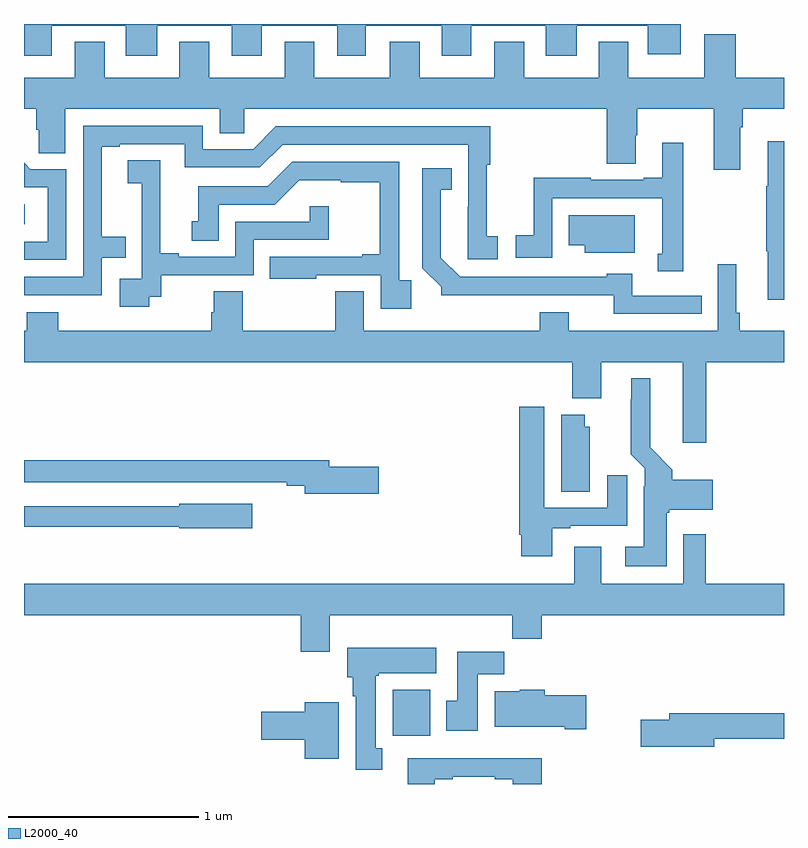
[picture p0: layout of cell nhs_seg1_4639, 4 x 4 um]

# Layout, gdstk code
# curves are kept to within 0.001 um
import gdstk
lib = gdstk.Library(unit=1e-6, precision=1e-09)
def R(c, l, rs):  # rectangles x0, y0, x1, y1
    for r in rs: c.add(gdstk.rectangle(r[:2], r[2:], *l))
def P(c, l, *ps):  # polygons
    for p in ps: c.add(gdstk.Polygon(p, *l))
L2000_40 = (2000, 40)

nhs_seg1_4639 = lib.new_cell('nhs_seg1_4639')
R(nhs_seg1_4639, L2000_40, [(364.94,528.452,365.137,528.694), (363,531.146,363.004,531.25)])
P(nhs_seg1_4639, L2000_40, [(363.145,532.19),(363.536,532.19),(363.536,532.032),(363.7,532.032),(363.7,532.19),(364.094,532.19),(364.094,532.032),(364.252,532.032),(364.252,532.19),(364.649,532.19),(364.649,532.032),(364.798,532.032),(364.798,532.19),(365.198,532.19),(365.198,532.032),(365.353,532.032),(365.353,532.19),(365.747,532.19),(365.747,532.032),(365.908,532.032),(365.908,532.19),(366.284,532.19),(366.284,532.04),(366.457,532.04),(366.457,532.199),(363,532.199),(363,532.032),(363.145,532.032)],
  [(366.769,531.656),(366.782,531.656),(366.782,531.752),(367,531.752),(367,531.916),(366.746,531.916),(366.746,532.144),(366.581,532.144),(366.581,531.916),(366.181,531.916),(366.181,532.105),(366.026,532.105),(366.026,531.916),(365.632,531.916),(365.632,532.105),(365.474,532.105),(365.474,531.916),(365.083,531.916),(365.083,532.105),(364.925,532.105),(364.925,531.916),(364.528,531.916),(364.528,532.105),(364.373,532.105),(364.373,531.916),(363.976,531.916),(363.976,532.105),(363.818,532.105),(363.818,531.916),(363.424,531.916),(363.424,532.105),(363.266,532.105),(363.266,531.916),(363,531.916),(363,531.752),(363.065,531.752),(363.065,531.643),(363.078,531.643),(363.078,531.52),(363.217,531.52),(363.217,531.752),(364.031,531.752),(364.031,531.625),(364.158,531.625),(364.158,531.752),(366.068,531.752),(366.068,531.463),(366.22,531.463),(366.22,531.614),(366.228,531.614),(366.228,531.752),(366.629,531.752),(366.629,531.432),(366.769,531.432)],
  [(363.408,530.97),(363.536,530.97),(363.536,531.079),(363.409,531.079),(363.409,531.552),(363.505,531.552),(363.505,531.567),(363.846,531.567),(363.846,531.444),(364.242,531.444),(364.362,531.564),(365.337,531.564),(365.336,530.961),(365.494,530.961),(365.494,531.081),(365.436,531.081),(365.436,531.457),(365.453,531.457),(365.453,531.66),(364.326,531.66),(364.206,531.54),(363.942,531.54),(363.942,531.663),(363.312,531.663),(363.312,530.868),(363,530.868),(363,530.772),(363.408,530.772)],
  [(367,531.583),(366.914,531.583),(366.914,531.344),(366.907,531.344),(366.907,531.003),(366.914,531.003),(366.914,530.748),(367,530.748)],
  [(366.469,531.574),(366.359,531.574),(366.359,531.391),(366.263,531.391),(366.263,531.378),(365.984,531.378),(365.984,531.391),(365.683,531.391),(365.683,531.086),(365.589,531.086),(365.589,530.97),(365.781,530.97),(365.781,531.282),(366.359,531.282),(366.359,530.991),(366.335,530.991),(366.335,530.897),(366.469,530.897)],
  [(363.66,530.763),(363.722,530.763),(363.722,530.877),(364.209,530.877),(364.209,531.063),(364.604,531.063),(364.604,531.241),(364.503,531.241),(364.503,531.159),(364.113,531.159),(364.113,530.973),(363.814,530.973),(363.814,530.993),(363.718,530.993),(363.718,531.371),(363.716,531.371),(363.716,531.482),(363.546,531.482),(363.546,531.361),(363.62,531.361),(363.62,531.163),(363.621,531.163),(363.621,530.859),(363.504,530.859),(363.504,530.712),(363.66,530.712)],
  [(365.039,530.851),(364.974,530.851),(364.974,531.474),(364.413,531.474),(364.284,531.345),(363.917,531.345),(363.917,531.162),(363.884,531.162),(363.884,531.058),(364.024,531.058),(364.024,531.249),(364.32,531.249),(364.448,531.377),(364.667,531.377),(364.667,531.366),(364.873,531.366),(364.873,530.986),(364.781,530.986),(364.781,530.973),(364.294,530.973),(364.294,530.858),(364.537,530.858),(364.537,530.877),(364.878,530.877),(364.878,530.7),(365.039,530.7)],
  [(363.222,531.435),(363.033,531.435),(363,531.468),(363,531.339),(363.126,531.339),(363.126,531.054),(363,531.054),(363,530.958),(363.222,530.958)],
  [(366.566,530.769),(366.202,530.769),(366.202,530.884),(366.066,530.884),(366.066,530.868),(365.295,530.868),(365.194,530.969),(365.194,531.326),(365.252,531.326),(365.252,531.439),(365.097,531.439),(365.097,530.914),(365.196,530.815),(365.196,530.771),(366.103,530.772),(366.103,530.673),(366.566,530.673)],
  [(366.214,531.193),(365.866,531.193),(365.866,531.035),(365.951,531.035),(365.951,530.996),(366.214,530.996)],
  [(365.866,530.683),(365.714,530.683),(365.714,530.584),(364.789,530.584),(364.789,530.792),(364.637,530.792),(364.637,530.584),(364.151,530.584),(364.151,530.792),(363.998,530.792),(363.998,530.682),(363.986,530.682),(363.986,530.584),(363.179,530.584),(363.179,530.683),(363.014,530.683),(363.014,530.584),(363,530.584),(363,530.42),(365.885,530.42),(365.885,530.228),(366.037,530.228),(366.037,530.42),(366.467,530.42),(366.467,529.995),(366.59,529.995),(366.59,530.42),(367,530.42),(367,530.584),(366.767,530.584),(366.767,530.68),(366.748,530.68),(366.748,530.935),(366.651,530.935),(366.651,530.584),(365.866,530.584)],
  [(366.382,529.626),(366.396,529.626),(366.396,529.643),(366.625,529.643),(366.625,529.801),(366.413,529.801),(366.413,529.854),(366.295,529.972),(366.295,530.335),(366.197,530.335),(366.197,530.225),(366.193,530.225),(366.193,529.934),(366.267,529.86),(366.267,529.766),(366.263,529.766),(366.263,529.447),(366.165,529.447),(366.165,529.346),(366.382,529.346)],
  [(365.779,529.545),(365.875,529.545),(365.875,529.557),(366.175,529.557),(366.175,529.825),(366.071,529.825),(366.071,529.653),(365.737,529.653),(365.737,530.185),(365.606,530.185),(365.606,529.51),(365.618,529.51),(365.618,529.398),(365.779,529.398)],
  [(365.977,530.079),(365.95,530.079),(365.95,530.143),(365.828,530.143),(365.828,529.738),(365.977,529.738)],
  [(364.867,529.868),(364.606,529.868),(364.606,529.904),(363,529.904),(363,529.788),(364.382,529.788),(364.382,529.768),(364.478,529.768),(364.478,529.726),(364.867,529.726)],
  [(364.201,529.675),(363.816,529.675),(363.816,529.662),(363,529.662),(363,529.554),(363.816,529.554),(363.816,529.546),(364.201,529.546)],
  [(364.609,529.088),(365.569,529.088),(365.569,528.964),(365.726,528.964),(365.726,529.088),(367,529.088),(367,529.252),(366.587,529.252),(366.587,529.513),(366.471,529.513),(366.471,529.252),(366.037,529.252),(366.037,529.447),(365.897,529.447),(365.897,529.252),(363,529.252),(363,529.088),(364.457,529.088),(364.457,528.894),(364.609,528.894)],
  [(364.885,528.386),(364.852,528.386),(364.852,528.769),(364.866,528.769),(364.866,528.782),(365.17,528.782),(365.17,528.916),(364.7,528.916),(364.7,528.762),(364.73,528.762),(364.73,528.662),(364.745,528.662),(364.745,528.273),(364.885,528.273)],
  [(365.389,528.776),(365.528,528.776),(365.528,528.895),(365.279,528.895),(365.279,528.636),(365.222,528.636),(365.222,528.48),(365.389,528.48)],
  [(365.959,528.666),(365.741,528.666),(365.741,528.694),(365.61,528.694),(365.61,528.688),(365.477,528.688),(365.477,528.5),(365.846,528.5),(365.846,528.488),(365.959,528.488)],
  [(364.657,528.628),(364.478,528.628),(364.478,528.578),(364.248,528.578),(364.248,528.431),(364.478,528.431),(364.478,528.332),(364.657,528.332)],
  [(366.634,528.436),(367,528.436),(367,528.572),(366.395,528.572),(366.395,528.536),(366.246,528.536),(366.246,528.394),(366.634,528.394)],
  [(365.161,528.225),(365.257,528.225),(365.257,528.237),(365.477,528.237),(365.477,528.225),(365.573,528.225),(365.573,528.199),(365.726,528.199),(365.726,528.334),(365.021,528.334),(365.021,528.199),(365.161,528.199)])

lib.write_gds('nhs_seg1_4639.gds')
